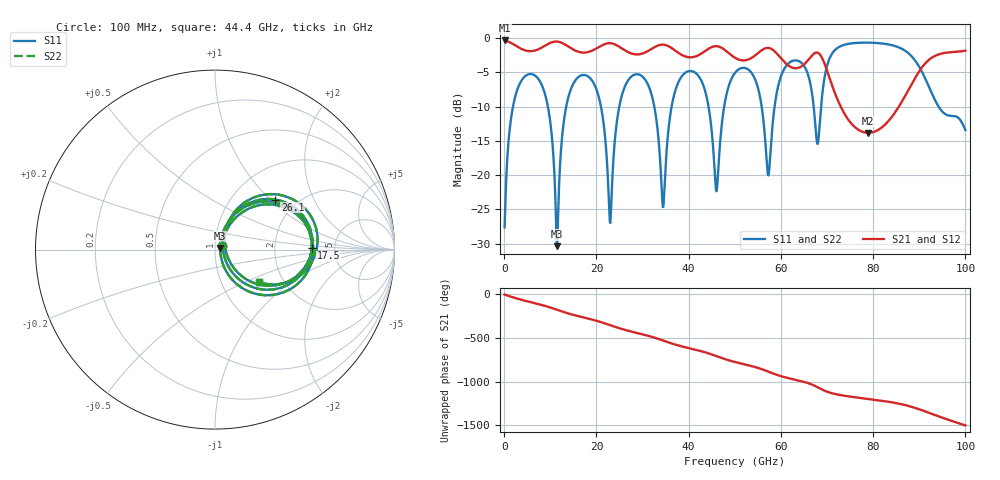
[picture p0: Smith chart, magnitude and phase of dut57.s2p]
! Touchstone file exported from HFSS 2026.1.0
!  File:  C:/ffzhzh/LocalFiles/Ansys_Project_Files/temp_train_TSV_RDL_57_1783622606_26216.aedt
!  Generated:  03:13:36 AM Jul 10, 2026
!  Design:  TSV_RDL
!  Project:  temp_train_TSV_RDL_57_1783622606_26216
! Variables:
!  h_bsmrdl = 2.06um
!  h_ox = 20um
!  h_rdl = 5um
!  h_sub = 84.6um
!  h_tmrdl = 3.1um
!  h_tsv = 84.6um
!  h_via = 3um
!  l_bsmrdl = 594.1um
!  l_sub = 5079.1um
!  l_tmrdl = 698.58um
!  m_sub = 200um
!  pitch = 42.36um
!  r_tsv = 8.86um
!  s_tmrdl = 10um
!  w_bsmrdl = 17.13um
!  w_sub = 500um
!  w_tmrdl = 17.03um
!  x_tsv_center1 = 707.095um
!  x_tsv_center2 = 1318.325um
!  x_tsv_center3 = 2033.935um
!  x_tsv_center4 = 2645.165um
!  x_tsv_center5 = 3360.775um
!  x_tsv_center6 = 3972.005um
# GHz S MA R 50.000000
! Terminal data exported
! Port[1] = TM_RDL1_1_T1
! Port[2] = TM_RDL5_1_T1
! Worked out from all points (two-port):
!   1000 points, 100 MHz to 100 GHz, reference 50 ohm
!   highest |S21| = -0.33 dB at 100 MHz (marker M1); lowest = -13.8 dB at 78.9 GHz (marker M2)
!   |S21| within 3 dB of the highest: start of sweep to 60.54 GHz; 91.81 GHz to end of sweep (the widest 2 of 3)
!   lowest |S11| = -30.4 dB at 11.5 GHz (marker M3), VSWR 1.06, Z = 53 + j0.91 ohm
!   |S11| at or under -10 dB: 9.484 GHz to 13.46 GHz (3.971 GHz wide, 34.6 % of centre); 20.99 GHz to 24.96 GHz (3.967 GHz wide, 17.3 % of centre); 94.2 GHz to end of sweep (the widest 3 of 8)
!   |S22| runs from -30.4 to -0.6 dB; largest |S21 - S12| = 8.6e-14
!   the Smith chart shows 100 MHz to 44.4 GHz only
!   S11 on the Smith chart (normalised r, x): 100 MHz: 1.08, +0.04; 17.5 GHz: 3.33, +0.08; 26.1 GHz: 1.56, +1.08; 44.4 GHz: 1.50, -0.60
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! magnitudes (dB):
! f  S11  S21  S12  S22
! 100 MHz  -27.6  -0.3  -0.3  -27.6
! 2 GHz  -9.7  -0.9  -0.9  -9.7
! 5.8 GHz  -5.2  -1.9  -1.9  -5.2
! 9.4 GHz  -9.7  -0.9  -0.9  -9.7
! 11.5 GHz  -30.4  -0.5  -0.5  -30.4
! 13.4 GHz  -10.2  -1.0  -1.0  -10.2
! 16.8 GHz  -5.4  -2.1  -2.1  -5.4
! 17.5 GHz  -5.4  -2.1  -2.1  -5.4
! 23 GHz  -27.0  -0.7  -0.7  -27.0
! 26.1 GHz  -7.2  -1.7  -1.7  -7.2
! 33.4 GHz  -14.3  -1.1  -1.1  -14.3
! 34.5 GHz  -24.7  -0.9  -0.9  -24.7
! 38.1 GHz  -6.0  -2.3  -2.3  -6.0
! 44.4 GHz  -10.3  -1.5  -1.5  -10.3
! 46.1 GHz  -22.2  -1.2  -1.2  -22.2
! 50.1 GHz  -5.0  -2.9  -2.9  -5.0
! 57.2 GHz  -20.0  -1.4  -1.4  -19.9
! 60.9 GHz  -4.3  -3.6  -3.6  -4.3
! 66.7 GHz  -7.8  -2.6  -2.6  -7.8
! 78.9 GHz  -0.6  -13.8  -13.8  -0.6
! 83.4 GHz  -0.9  -12.0  -12.0  -0.9
! 100 GHz  -13.4  -1.8  -1.8  -13.4
